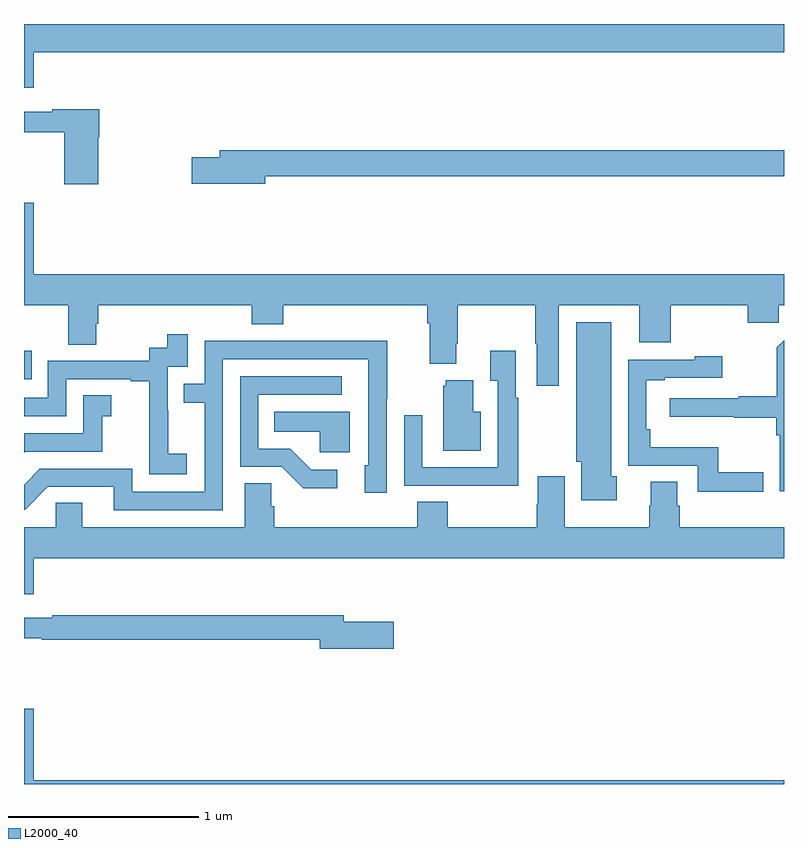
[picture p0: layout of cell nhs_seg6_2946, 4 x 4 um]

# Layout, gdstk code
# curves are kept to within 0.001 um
import gdstk
lib = gdstk.Library(unit=1e-6, precision=1e-09)
def R(c, l, rs):  # rectangles x0, y0, x1, y1
    for r in rs: c.add(gdstk.rectangle(r[:2], r[2:], *l))
def P(c, l, *ps):  # polygons
    for p in ps: c.add(gdstk.Polygon(p, *l))
L2000_40 = (2000, 40)

nhs_seg6_2946 = lib.new_cell('nhs_seg6_2946')
R(nhs_seg6_2946, L2000_40, [(285,929.631,285.041,929.779)])
P(nhs_seg6_2946, L2000_40, [(285.052,931.352),(289,931.352),(289,931.5),(285,931.5),(285,931.164),(285.052,931.164)],
  [(285.39,930.905),(285.395,930.905),(285.395,931.051),(285.148,931.051),(285.148,931.038),(285,931.038),(285,930.93),(285.212,930.93),(285.212,930.657),(285.39,930.657)],
  [(286.27,930.7),(289,930.7),(289,930.836),(286.031,930.836),(286.031,930.8),(285.882,930.8),(285.882,930.658),(286.27,930.658)],
  [(287.815,930.02),(288.239,930.02),(288.239,929.826),(288.403,929.826),(288.403,930.02),(288.809,930.02),(288.809,929.927),(288.973,929.927),(288.973,930.02),(289,930.02),(289,930.184),(285.052,930.184),(285.052,930.559),(285,930.559),(285,930.02),(285.232,930.02),(285.232,929.812),(285.379,929.812),(285.379,929.922),(285.392,929.922),(285.392,930.02),(286.199,930.02),(286.199,929.921),(286.364,929.921),(286.364,930.02),(287.123,930.02),(287.123,929.924),(287.135,929.924),(287.135,929.711),(287.275,929.711),(287.275,929.818),(287.283,929.818),(287.283,930.02),(287.692,930.02),(287.692,929.816),(287.699,929.816),(287.699,929.595),(287.815,929.595)],
  [(288.121,929.12),(288.091,929.12),(288.091,929.929),(287.906,929.929),(287.906,929.196),(287.933,929.196),(287.933,928.994),(288.121,928.994)],
  [(285.856,929.239),(285.758,929.239),(285.758,929.468),(285.756,929.468),(285.756,929.697),(285.861,929.697),(285.861,929.866),(285.753,929.866),(285.753,929.796),(285.66,929.796),(285.66,929.727),(285.126,929.727),(285.126,929.532),(285,929.532),(285,929.436),(285.222,929.436),(285.222,929.631),(285.563,929.631),(285.563,929.619),(285.659,929.619),(285.659,929.335),(285.658,929.335),(285.658,929.129),(285.856,929.129)],
  [(289,929.836),(288.963,929.799),(288.963,929.542),(288.763,929.542),(288.763,929.529),(288.399,929.529),(288.399,929.432),(288.739,929.432),(288.739,929.428),(288.958,929.428),(288.958,929.336),(288.978,929.336),(288.978,929.04),(289,929.04)],
  [(286.047,929.736),(286.811,929.736),(286.812,929.178),(286.793,929.178),(286.793,929.034),(286.908,929.034),(286.908,929.527),(286.911,929.527),(286.911,929.834),(286.447,929.834),(286.447,929.832),(285.951,929.832),(285.951,929.607),(285.841,929.607),(285.841,929.506),(285.951,929.506),(285.951,929.037),(285.57,929.037),(285.57,929.16),(285.084,929.16),(285,929.076),(285,928.944),(285.006,928.944),(285.126,929.064),(285.473,929.064),(285.473,928.941),(286.047,928.941)],
  [(287.602,929.534),(287.589,929.534),(287.589,929.779),(287.453,929.779),(287.453,929.623),(287.493,929.623),(287.493,929.166),(287.097,929.166),(287.097,929.44),(287.001,929.44),(287.001,929.07),(287.317,929.07),(287.317,929.069),(287.602,929.069)],
  [(288.892,929.141),(288.655,929.141),(288.655,929.272),(288.296,929.272),(288.296,929.368),(288.276,929.368),(288.276,929.625),(288.373,929.625),(288.373,929.637),(288.676,929.637),(288.676,929.752),(288.531,929.752),(288.531,929.733),(288.18,929.733),(288.18,929.175),(288.546,929.175),(288.546,929.039),(288.892,929.039)],
  [(286.648,929.154),(286.513,929.154),(286.402,929.265),(286.233,929.265),(286.233,929.55),(286.672,929.55),(286.672,929.646),(286.137,929.646),(286.137,929.169),(286.356,929.169),(286.469,929.057),(286.648,929.057)],
  [(287.404,929.458),(287.365,929.458),(287.365,929.626),(287.219,929.626),(287.219,929.595),(287.207,929.595),(287.207,929.255),(287.404,929.255)],
  [(285.007,929.25),(285.411,929.25),(285.411,929.435),(285.46,929.435),(285.46,929.545),(285.312,929.545),(285.312,929.346),(285,929.346),(285,929.243)],
  [(286.714,929.458),(286.318,929.458),(286.318,929.354),(286.557,929.354),(286.557,929.246),(286.714,929.246)],
  [(285.052,928.688),(289,928.688),(289,928.852),(288.452,928.852),(288.452,928.965),(288.439,928.965),(288.439,929.09),(288.299,929.09),(288.299,928.965),(288.292,928.965),(288.292,928.852),(287.845,928.852),(287.845,929.119),(287.705,929.119),(287.705,928.973),(287.698,928.973),(287.698,928.852),(287.229,928.852),(287.229,928.985),(287.069,928.985),(287.069,928.852),(286.316,928.852),(286.316,928.961),(286.302,928.961),(286.302,929.084),(286.163,929.084),(286.163,928.852),(285.307,928.852),(285.307,928.979),(285.168,928.979),(285.168,928.852),(285,928.852),(285,928.5),(285.052,928.5)],
  [(286.945,928.353),(286.684,928.353),(286.684,928.387),(285.148,928.387),(285.148,928.374),(285,928.374),(285,928.266),(285.094,928.266),(285.094,928.258),(286.556,928.258),(286.556,928.211),(286.945,928.211)],
  [(289,927.52),(285.052,927.52),(285.052,927.895),(285,927.895),(285,927.5),(289,927.5)])

lib.write_gds('nhs_seg6_2946.gds')
